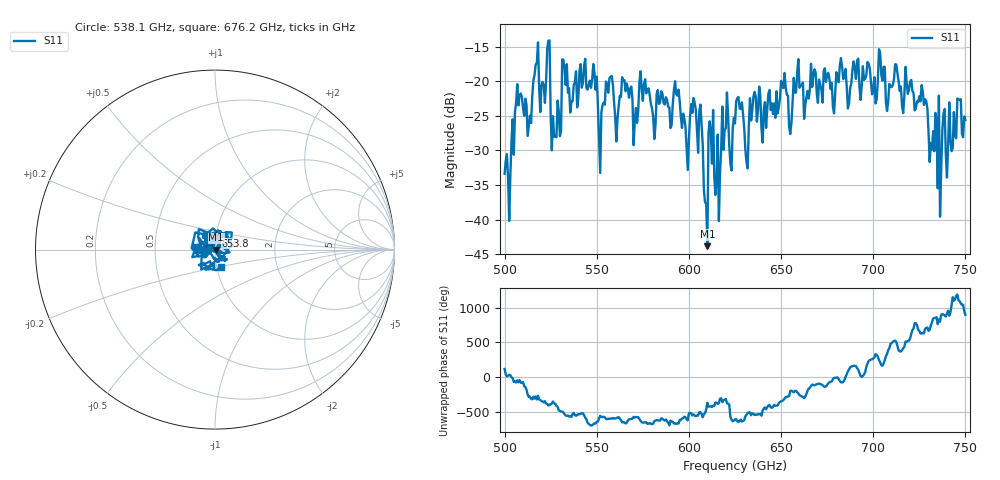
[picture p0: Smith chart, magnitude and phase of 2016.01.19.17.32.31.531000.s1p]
!Created with skrf (http://scikit-rf.org).
# GHz S RI R 50.0
!freq ReS11 ImS11
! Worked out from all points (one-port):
!   401 points, 500 GHz to 750 GHz, reference 50 ohm
!   lowest |S11| = -43.9 dB at 610 GHz (marker M1), VSWR 1.01, Z = 50.6 - j0.0654 ohm
!   |S11| at or under -10 dB: start of sweep to end of sweep
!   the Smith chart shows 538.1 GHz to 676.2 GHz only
!   S11 on the Smith chart (normalised r, x): 538.1 GHz: 0.82, +0.01; 653.8 GHz: 1.00, +0.16; 676.2 GHz: 1.05, -0.21
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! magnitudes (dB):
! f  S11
! 500 GHz  -33.4
! 507.5 GHz  -23.5
! 513.8 GHz  -25.0
! 516.9 GHz  -17.6
! 523.8 GHz  -14.1
! 526.9 GHz  -28.0
! 531.2 GHz  -16.8
! 538.1 GHz  -20.1
! 548.8 GHz  -18.8
! 551.9 GHz  -33.3
! 562.5 GHz  -22.1
! 593.8 GHz  -22.1
! 598.8 GHz  -29.6
! 602.5 GHz  -22.4
! 610 GHz  -43.9
! 611.9 GHz  -27.1
! 615.6 GHz  -27.7
! 619.4 GHz  -27.0
! 625 GHz  -26.1
! 631.2 GHz  -31.7
! 634.4 GHz  -24.2
! 653.8 GHz  -22.1
! 656.2 GHz  -23.0
! 676.2 GHz  -19.7
! 687.5 GHz  -20.9
! 718.8 GHz  -21.8
! 736.2 GHz  -39.6
! 750 GHz  -25.6
